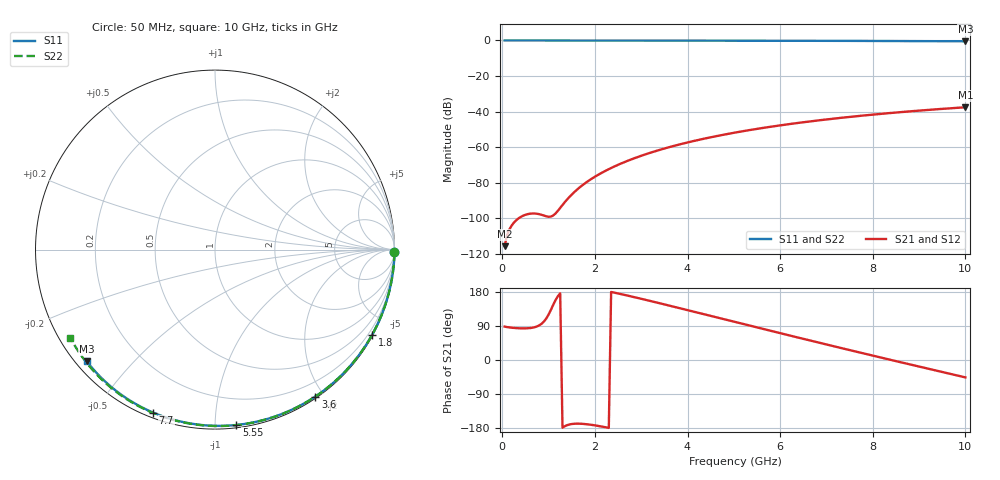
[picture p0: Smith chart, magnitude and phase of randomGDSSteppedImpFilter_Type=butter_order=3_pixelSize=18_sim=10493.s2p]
! freq	dB(S11)	phase(S11)	dB(S12)	phase(S12)
!  dB(S21)	phase(S21)	dB(S22)	phase(S22)
!S-par simulation data
#  GHz  S  DB  R 50
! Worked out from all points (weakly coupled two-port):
!   200 points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, 50 MHz to 10 GHz, reference 50 ohm
!   highest |S21| = -37.53 dB at 10 GHz (marker M1); lowest = -115.5 dB at 50 MHz (marker M2)
!   lowest |S11| = -0.5 dB at 10 GHz (marker M3), VSWR 37.06, Z = 1.54 - j18.7 ohm
!   |S11| at or under -10 dB: nowhere
!   |S22| runs from -0.5 to 0.0 dB; largest |S21 - S12| = 0
!   S11 on the Smith chart (normalised r, x): 50 MHz: open; 1.8 GHz: 0.03, -3.94; 3.6 GHz: 0.02, -1.89; 5.55 GHz: 0.02, -1.13; 7.7 GHz: 0.02, -0.69; 10 GHz: 0.03, -0.37
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0.05  -0.00 -0.8  -115.54 88.3  -115.54 88.3  -0.00 -0.9
0.45  -0.01 -7.2  -98.43 83.4  -98.43 83.4  -0.01 -7.8
0.9  -0.02 -14.4  -98.37 101.6  -98.37 101.6  -0.02 -15.4
1.3  -0.03 -20.7  -92.39 -178.6  -92.39 -178.6  -0.03 -22.2
1.75  -0.04 -27.7  -80.91 -168.6  -80.91 -168.6  -0.04 -29.7
1.8  -0.04 -28.5  -79.95 -169.2  -79.95 -169.2  -0.04 -30.6
1.95  -0.04 -30.8  -77.33 -171.5  -77.33 -171.5  -0.04 -33.0
2.1  -0.04 -33.1  -75.02 -174.5  -75.02 -174.5  -0.05 -35.5
2.3  -0.05 -36.2  -72.27 -179.2  -72.27 -179.2  -0.05 -38.8
2.5  -0.05 -39.3  -69.84 175.6  -69.84 175.6  -0.05 -42.1
2.9  -0.06 -45.3  -65.69 164.4  -65.69 164.4  -0.06 -48.5
3.4  -0.07 -52.7  -61.44 149.7  -61.44 149.7  -0.08 -56.4
3.6  -0.07 -55.7  -59.96 143.7  -59.96 143.7  -0.08 -59.6
4.3  -0.09 -65.7  -55.49 122.5  -55.49 122.5  -0.10 -70.3
5.05  -0.12 -76.2  -51.63 99.6  -51.63 99.6  -0.13 -81.4
5.55  -0.14 -83.0  -49.45 84.5  -49.45 84.5  -0.15 -88.7
6.1  -0.16 -90.3  -47.33 67.8  -47.33 67.8  -0.17 -96.5
6.7  -0.19 -98.2  -45.29 49.9  -45.29 49.9  -0.20 -104.8
7.7  -0.25 -110.8  -42.41 20.3  -42.41 20.3  -0.27 -118.3
8.35  -0.30 -118.9  -40.82 1.4  -40.82 1.4  -0.33 -126.9
9.2  -0.38 -129.2  -39.00 -23.1  -39.00 -23.1  -0.41 -138.1
10  -0.47 -138.9  -37.53 -45.9  -37.53 -45.9  -0.50 -148.6
